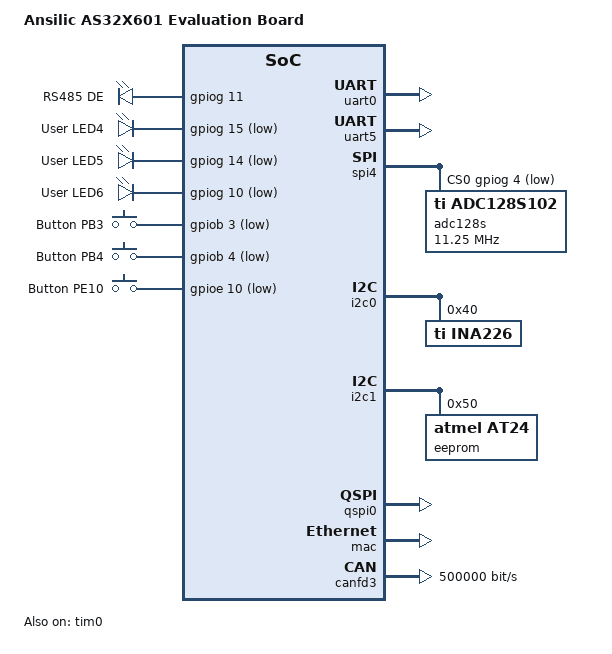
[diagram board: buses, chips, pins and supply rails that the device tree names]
/* SPDX-License-Identifier: Apache-2.0 */

/dts-v1/;

#include <ansilic/as32x601.dtsi>
#include <zephyr/dt-bindings/gpio/gpio.h>
#include "as32x601_evb-pinctrl.dtsi"

/ {
	model = "Ansilic AS32X601 Evaluation Board";
	compatible = "ansilic,as32x601-evb";

	chosen {
		zephyr,sram = &sram0;
		zephyr,flash = &flash0;
		zephyr,code-partition = &flash0;
		zephyr,console = &uart0;
		zephyr,shell-uart = &uart0;
	};

	aliases {
		serial-0 = &uart0;
		gpio-0 = &gpioa;
		led0 = &user_led0;
		led1 = &user_led1;
		led2 = &user_led2;
		sw0 = &button_pb3;
		sw1 = &button_pb4;
		sw2 = &button_pe10;
		rs485-de = &rs485_de;
		qspi-flash = &qspi0;
	};

	rs485_ctrl {
		compatible = "gpio-leds";
		rs485_de: rs485_de_0 {
			gpios = <&gpiog 11 GPIO_ACTIVE_HIGH>;
			label = "RS485 DE";
		};
	};

	leds {
		compatible = "gpio-leds";
		user_led0: led_0 {
			gpios = <&gpiog 15 GPIO_ACTIVE_LOW>;
			label = "User LED4";
		};
		user_led1: led_1 {
			gpios = <&gpiog 14 GPIO_ACTIVE_LOW>;
			label = "User LED5";
		};
		user_led2: led_2 {
			gpios = <&gpiog 10 GPIO_ACTIVE_LOW>;
			label = "User LED6";
		};
	};

	buttons {
		compatible = "gpio-keys";

		button_pb3: button_pb3 {
			gpios = <&gpiob 3 GPIO_ACTIVE_LOW>;
			label = "Button PB3";
			zephyr,code = <0>;
		};

		button_pb4: button_pb4 {
			gpios = <&gpiob 4 GPIO_ACTIVE_LOW>;
			label = "Button PB4";
			zephyr,code = <1>;
		};

		button_pe10: button_pe10 {
			gpios = <&gpioe 10 GPIO_ACTIVE_LOW>;
			label = "Button PE10";
			zephyr,code = <2>;
		};
	};
};

&uart0 {
	status = "okay";
};

&gpioa {
	status = "okay";
};

&gpiob {
	status = "okay";
};

&gpioe {
	status = "okay";
};

&gpiog {
	status = "okay";
};

&gpiof {
	status = "okay";
};

&uart5 {
	status = "okay";
};

&spi4 {
	status = "okay";
	cs-gpios = <&gpiog 4 GPIO_ACTIVE_LOW>;
	adc128s: adc128s102@0 {
		compatible = "ti,adc128s102";
		reg = <0>;
		spi-max-frequency = <11250000>;
	};
};

&i2c0 {
	status = "okay";
	ina226: ina226@40 {
		compatible = "ti,ina226";
		reg = <0x40>;
		rshunt-micro-ohms = <10000>;
		current-lsb-microamps = <1000>;
	};
};

&i2c1 {
	status = "okay";
	eeprom: at24c02@50 {
		compatible = "atmel,at24";
		reg = <0x50>;
		size = <256>;
		pagesize = <8>;
		address-width = <8>;
		timeout = <5>;
	};
};

&tim0 {
	status = "okay";
};

&qspi0 {
	status = "okay";
};

&mac {
	status = "okay";
};

&canfd3 {
	status = "okay";
	pinctrl-0 = <&canfd3_default>;
	pinctrl-names = "default";
	bitrate = <500000>;
	sample-point = <875>;
	bitrate-data = <2000000>;
	sample-point-data = <750>;
};
